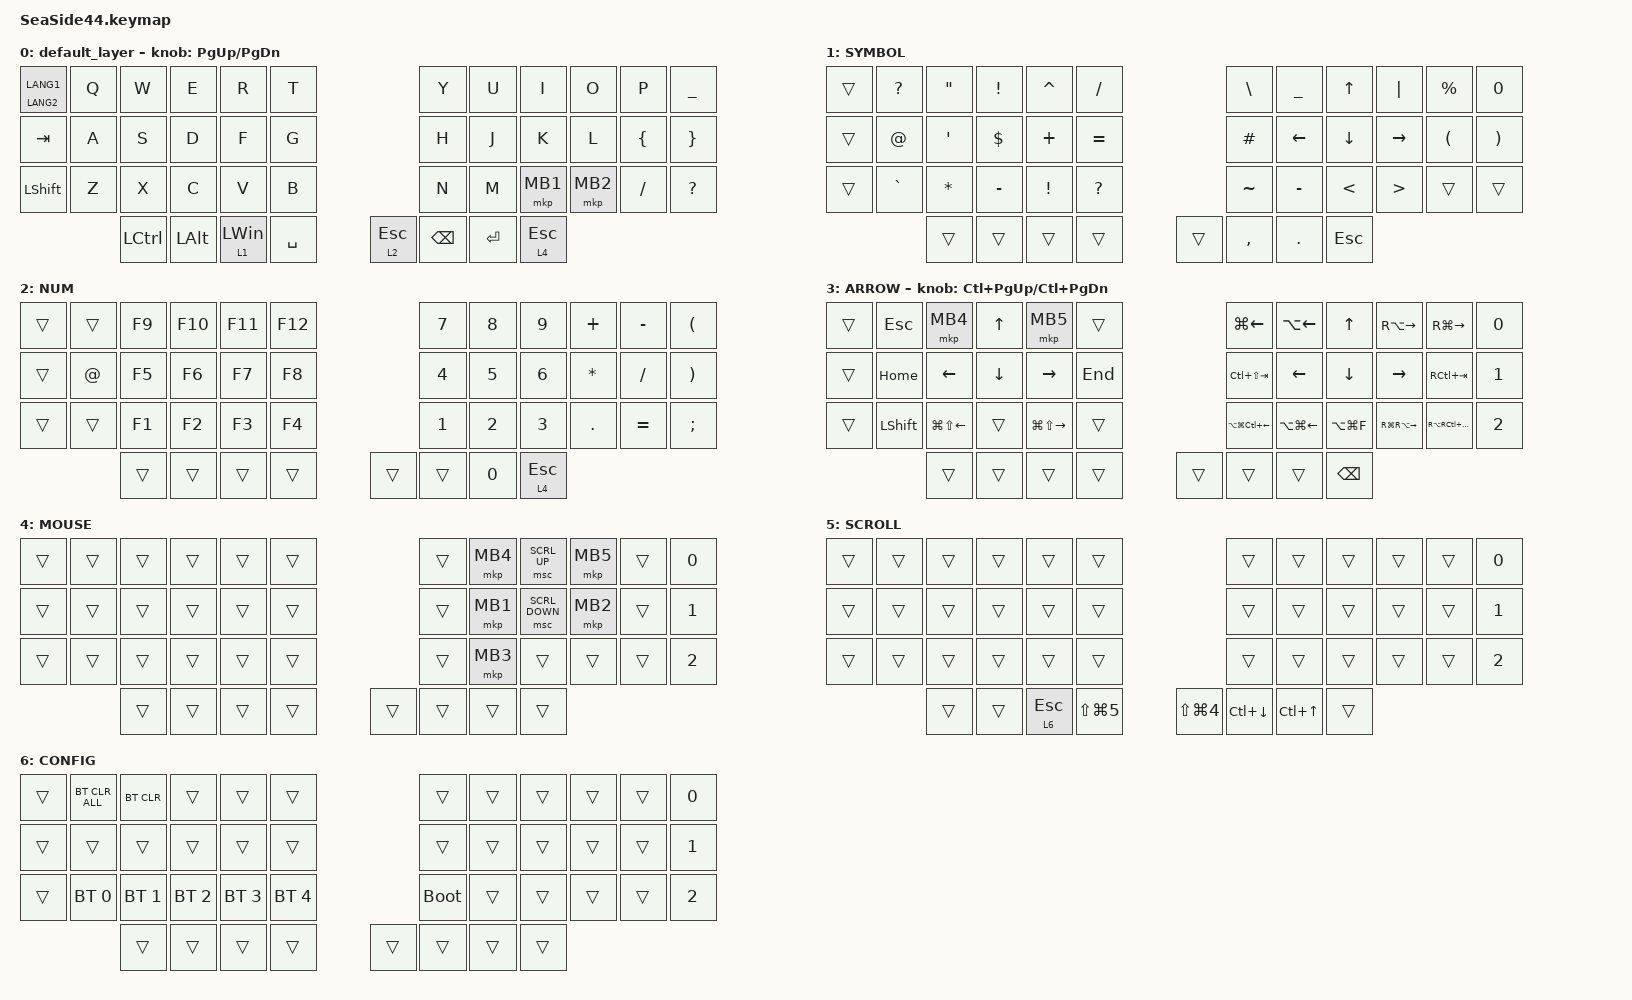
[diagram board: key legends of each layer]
#include <behaviors.dtsi>
#include <dt-bindings/zmk/bt.h>
#include <dt-bindings/zmk/keys.h>
#include <dt-bindings/zmk/pointing.h>

#define MOUSE 4
#define SCROLL 5
#define NUM 6

&mt {
    flavor = "balanced";
    quick-tap-ms = <300>;
};

&lt {
    flavor = "balanced";
    quick-tap-ms = <300>;
};

/ {
    combos { compatible = "zmk,combos"; };

    macros {
        to_layer_0: to_layer_0 {
            compatible = "zmk,behavior-macro-one-param";
            #binding-cells = <1>;
            bindings = <&to 0 &macro_param_1to1 &kp MACRO_PLACEHOLDER>;
            label = "TO_LAYER_0";
        };
    };

    behaviors {
        lt_to_layer_0: lt_to_layer_0 {
            compatible = "zmk,behavior-hold-tap";
            label = "LAYER_TAP_TO_0";
            bindings = <&mo>, <&to_layer_0>;

            #binding-cells = <2>;
            tapping-term-ms = <200>;
        };
    };

    keymap {
        compatible = "zmk,keymap";

        default_layer {
            bindings = <
&mt LANG2 LANG1  &kp Q  &kp W      &kp E         &kp R           &kp T                                     &kp Y      &kp U  &kp I         &kp O     &kp P           &kp UNDERSCORE
&kp TAB          &kp A  &kp S      &kp D         &kp F           &kp G                                     &kp H      &kp J  &kp K         &kp L     &kp LEFT_BRACE  &kp RIGHT_BRACE
&kp LSHFT        &kp Z  &kp X      &kp C         &kp V           &kp B                                     &kp N      &kp M  &mkp MB1      &mkp MB2  &kp FSLH        &kp QUESTION
                        &kp LCTRL  &kp LEFT_ALT  &lt 1 LEFT_WIN  &kp SPACE  &lt 2 ESCAPE    &kp BACKSPACE  &kp ENTER         &lt 4 ESCAPE
            >;

            sensor-bindings = <&inc_dec_kp PG_UP PAGE_DOWN>;
        };

        SYMBOL {
            bindings = <
&trans  &kp QUESTION  &kp DOUBLE_QUOTES  &kp EXCL    &kp CARET        &kp FSLH                           &kp BSLH    &kp UNDER       &kp UP_ARROW    &kp PIPE          &kp PERCENT           &kp N0
&trans  &kp AT        &kp SINGLE_QUOTE   &kp DOLLAR  &kp PLUS         &kp EQUAL                          &kp HASH    &kp LEFT_ARROW  &kp DOWN_ARROW  &kp RIGHT_ARROW   &kp LEFT_PARENTHESIS  &kp RIGHT_PARENTHESIS
&trans  &kp GRAVE     &kp ASTRK          &kp MINUS   &kp EXCLAMATION  &kp QUESTION                       &kp TILDE   &kp MINUS       &kp LESS_THAN   &kp GREATER_THAN  &trans                &trans
                      &trans             &trans      &trans           &trans        &trans    &kp COMMA  &kp PERIOD                  &kp ESC
            >;
        };

        NUM {
            bindings = <
&trans  &trans  &kp F9  &kp F10  &kp F11  &kp F12                    &kp N7        &kp NUMBER_8  &kp NUMBER_9  &kp PLUS      &kp MINUS  &kp LEFT_PARENTHESIS
&trans  &kp AT  &kp F5  &kp F6   &kp F7   &kp F8                     &kp NUMBER_4  &kp NUMBER_5  &kp NUMBER_6  &kp ASTERISK  &kp SLASH  &kp RIGHT_PARENTHESIS
&trans  &trans  &kp F1  &kp F2   &kp F3   &kp F4                     &kp NUMBER_1  &kp NUMBER_2  &kp NUMBER_3  &kp PERIOD    &kp EQUAL  &kp SEMICOLON
                &trans  &trans   &trans   &trans   &trans    &trans  &kp NUMBER_0                &lt 4 ESCAPE
            >;
        };

        ARROW {
            bindings = <
&trans  &kp ESCAPE      &mkp MB4                &kp UP_ARROW    &mkp MB5                 &trans                     &kp LG(LEFT_ARROW)          &kp LA(LEFT_ARROW)      &kp UP_ARROW    &kp RA(RIGHT_ARROW)      &kp RG(RIGHT_ARROW)          &kp N0
&trans  &kp HOME        &kp LEFT_ARROW          &kp DOWN_ARROW  &kp RIGHT_ARROW          &kp END                    &kp LC(LS(TAB))             &kp LEFT_ARROW          &kp DOWN_ARROW  &kp RIGHT_ARROW          &kp RC(TAB)                  &kp N1
&trans  &kp LEFT_SHIFT  &kp LG(LS(LEFT_ARROW))  &trans          &kp LG(LS(RIGHT_ARROW))  &trans                     &kp LA(LG(LC(LEFT_ARROW)))  &kp LA(LG(LEFT_ARROW))  &kp LA(LG(F))   &kp RG(RA(RIGHT_ARROW))  &kp RA(RC(RG(RIGHT_ARROW)))  &kp N2
                        &trans                  &trans          &trans                   &trans   &trans    &trans  &trans                                              &kp BACKSPACE
            >;

            sensor-bindings = <&inc_dec_kp LC(PAGE_UP) LC(PAGE_DOWN)>;
        };

        MOUSE {
            bindings = <
&trans  &trans  &trans  &trans  &trans  &trans                    &trans  &mkp MB4  &msc SCRL_UP    &mkp MB5  &trans  &kp N0
&trans  &trans  &trans  &trans  &trans  &trans                    &trans  &mkp MB1  &msc SCRL_DOWN  &mkp MB2  &trans  &kp N1
&trans  &trans  &trans  &trans  &trans  &trans                    &trans  &mkp MB3  &trans          &trans    &trans  &kp N2
                &trans  &trans  &trans  &trans  &trans    &trans  &trans            &trans
            >;
        };

        SCROLL {
            bindings = <
&trans  &trans  &trans  &trans  &trans        &trans                                          &trans            &trans  &trans  &trans  &trans  &kp N0
&trans  &trans  &trans  &trans  &trans        &trans                                          &trans            &trans  &trans  &trans  &trans  &kp N1
&trans  &trans  &trans  &trans  &trans        &trans                                          &trans            &trans  &trans  &trans  &trans  &kp N2
                &trans  &trans  &lt 6 ESCAPE  &kp LS(LG(N5))  &kp LS(LG(N4))    &kp LC(DOWN)  &kp LC(UP_ARROW)          &trans
            >;
        };

        CONFIG {
            bindings = <
&trans  &bt BT_CLR_ALL  &bt BT_CLR    &trans        &trans        &trans                          &trans       &trans  &trans  &trans  &trans  &kp N0
&trans  &trans          &trans        &trans        &trans        &trans                          &trans       &trans  &trans  &trans  &trans  &kp N1
&trans  &bt BT_SEL 0    &bt BT_SEL 1  &bt BT_SEL 2  &bt BT_SEL 3  &bt BT_SEL 4                    &bootloader  &trans  &trans  &trans  &trans  &kp N2
                        &trans        &trans        &trans        &trans        &trans    &trans  &trans               &trans
            >;
        };
    };
};
